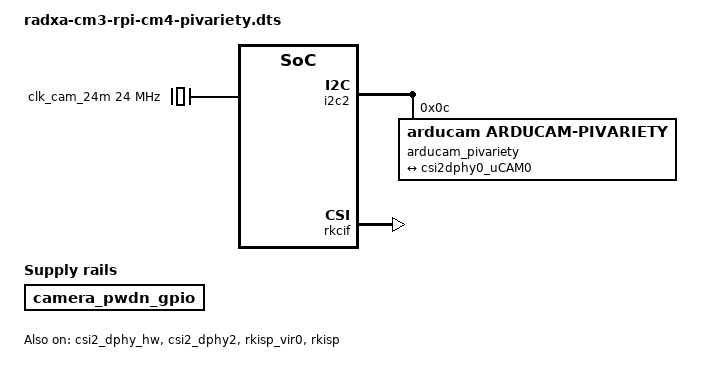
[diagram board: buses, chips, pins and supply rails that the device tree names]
/dts-v1/;
/plugin/;

#include <dt-bindings/gpio/gpio.h>
#include <dt-bindings/pinctrl/rockchip.h>
#include <dt-bindings/power/rk3568-power.h>


/ {
	metadata {
		title = "Enable Arducam Pivariety on Radxa CM3";
		compatible = "radxa,cm3-rpi-cm4-io";
		category = "camera";
		exclusive = "csi2_dphy2";
		description = "Enable Arducam Pivariety on Radxa CM3";
	};

	fragment@0 {
		target-path = "/";

		__overlay__ {
			clk_cam_24m: external-camera-clock-24m {
				status = "okay";
				compatible = "fixed-clock";
				clock-frequency = <24000000>;
				clock-output-names = "clk_cam_24m";
				#clock-cells = <0>;
			};

			camera_pwdn_gpio: camera-pwdn-gpio {
				status = "okay";
				compatible = "regulator-fixed";
				regulator-name = "camera_pwdn_gpio";
				regulator-always-on;
				regulator-boot-on;
				enable-active-high;
				pwdn-gpios = <&gpio4 RK_PC1 GPIO_ACTIVE_HIGH>;
				pinctrl-names = "default";
				pinctrl-0 = <&cam_pwdn_gpio>;
			};
		};
	};

	fragment@1 {
		target = <&i2c2>;
		clock-frequency = <10000>;
		#address-cells = <1>;
		#size-cells = <0>;

		__overlay__ {
			status = "okay";
			pinctrl-names = "default";
			pinctrl-0 = <&i2c2m1_xfer>;
			#address-cells = <1>;
			#size-cells = <0>;

			arducam_pivariety: arducam-pivariety@c {
				compatible = "arducam,arducam-pivariety";
				reg = <0x0c>;
				clocks = <&clk_cam_24m>;
				clock-names = "xclk";
				rockchip,camera-module-index = <0>;
				rockchip,camera-module-facing = "back";
				rockchip,camera-module-name = "IQ";
				rockchip,camera-module-lens-name = "default";

				port {
					pivariety_out0: endpoint {
						remote-endpoint = <&csi2dphy0_uCAM0>;
						data-lanes = <1 2>;
					};
				};
			};
		};
	};

	fragment@2 {
		target = <&csi2_dphy_hw>;

		__overlay__ {
			status = "okay";
		};
	};

	fragment@3 {
		target = <&csi2_dphy2>;

		__overlay__ {
			status = "okay";

			ports {
				#address-cells = <1>;
				#size-cells = <0>;

				port@0 {
					reg = <0>;
					#address-cells = <1>;
					#size-cells = <0>;

					mipi_in_ucam0: endpoint@1 {
						reg = <1>;
						remote-endpoint = <&pivariety_out0>;
						data-lanes = <1 2>;
					};
				};

				port@1 {
					reg = <1>;
					#address-cells = <1>;
					#size-cells = <0>;

					csi2dphy0_out: endpoint@1 {
						reg = <1>;
						remote-endpoint = <&isp0_in>;
					};
				};
			};
		};
	};

	fragment@4 {
		target = <&rkisp_vir0>;

		__overlay__ {
			status = "okay";

			port {
				#address-cells = <1>;
				#size-cells = <0>;

				isp0_in: endpoint@0 {
					reg = <0>;
					remote-endpoint = <&csi2dphy0_out>;
				};
			};
		};
	};

	fragment@5 {
		target = <&rkisp>;

		__overlay__ {
			status = "okay";
		};
	};

	fragment@6 {
		target = <&rkisp_mmu>;

		__overlay__ {
			status = "okay";
		};
	};

	fragment@7 {
		target = <&rkcif_mmu>;

		__overlay__ {
			status = "okay";
		};
	};

	fragment@8 {
		target = <&rkcif>;

		__overlay__ {
			status = "okay";
		};
	};
	fragment@9 {
		target = <&pinctrl>;

		__overlay__ {
			camera {
				cam_pwdn_gpio: cam-pwdn-gpio {
					rockchip,pins = <4 RK_PC1 RK_FUNC_GPIO &pcfg_pull_up>;
				};
			};
		};
	};
};
